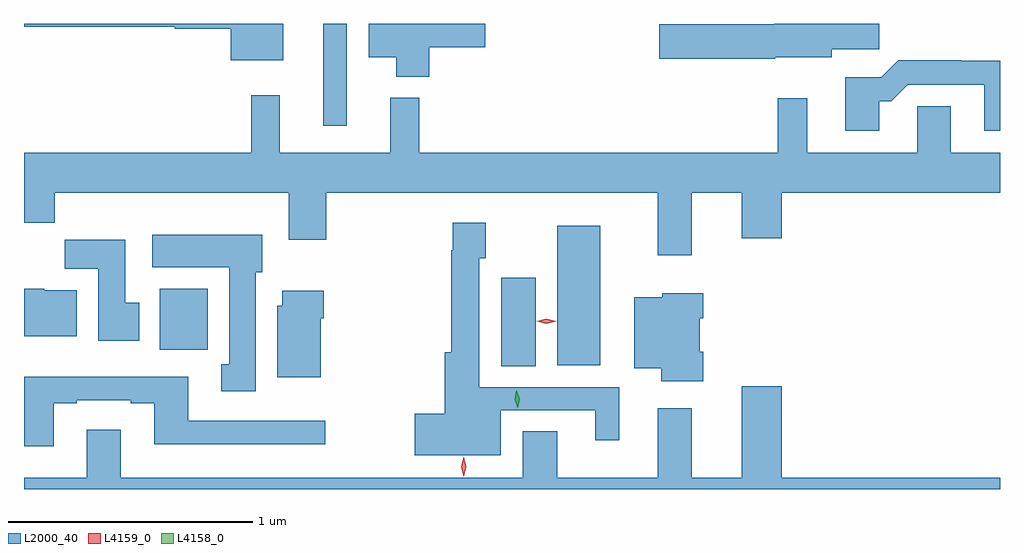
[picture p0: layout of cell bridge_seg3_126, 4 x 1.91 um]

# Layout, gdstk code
import gdstk
lib = gdstk.Library(unit=1e-6, precision=1e-09)
def R(c, l, rs):  # rectangles x0, y0, x1, y1
    for r in rs: c.add(gdstk.rectangle(r[:2], r[2:], *l))
def P(c, l, *ps):  # polygons
    for p in ps: c.add(gdstk.Polygon(p, *l))
L2000_40 = (2000, 40)
L4158_0 = (4158, 0)
L4159_0 = (4159, 0)

bridge_seg3_126 = lib.new_cell('bridge_seg3_126')
R(bridge_seg3_126, L2000_40, [(187.997,666.904,188.14,667.267), (188.228,666.908,188.404,667.48), (186.599,666.972,186.795,667.222), (187.268,667.89,187.365,668.308)])
P(bridge_seg3_126, L2000_40, [(189.12,668.171),(189.352,668.171),(189.352,668.203),(189.547,668.203),(189.547,668.308),(189.116,668.308),(189.116,668.306),(188.646,668.306),(188.646,668.164),(189.12,668.164)],
  [(187.105,668.308),(186.042,668.308),(186.042,668.296),(186.66,668.296),(186.66,668.288),(186.89,668.288),(186.89,668.159),(187.105,668.159)],
  [(187.703,668.212),(187.933,668.212),(187.933,668.308),(187.454,668.308),(187.454,668.171),(187.568,668.171),(187.568,668.09),(187.703,668.09)],
  [(189.547,667.991),(189.596,667.991),(189.663,668.058),(189.977,668.058),(189.977,667.869),(190.042,667.869),(190.042,668.156),(189.881,668.156),(189.881,668.159),(189.626,668.159),(189.556,668.089),(189.407,668.089),(189.407,667.869),(189.547,667.869)],
  [(188.779,667.616),(188.984,667.616),(188.984,667.428),(189.148,667.428),(189.148,667.616),(190.042,667.616),(190.042,667.78),(189.841,667.78),(189.841,667.97),(189.702,667.97),(189.702,667.78),(189.253,667.78),(189.253,668.002),(189.132,668.002),(189.132,667.78),(187.661,667.78),(187.661,668.005),(187.544,668.005),(187.544,667.78),(187.091,667.78),(187.091,668.014),(186.973,668.014),(186.973,667.78),(186.042,667.78),(186.042,667.492),(186.167,667.492),(186.167,667.616),(187.127,667.616),(187.127,667.422),(187.28,667.422),(187.28,667.616),(188.639,667.616),(188.639,667.359),(188.779,667.359)],
  [(187.996,666.723),(188.384,666.723),(188.384,666.6),(188.482,666.6),(188.482,666.819),(187.908,666.819),(187.908,667.347),(187.935,667.347),(187.935,667.492),(187.8,667.492),(187.8,667.379),(187.792,667.379),(187.792,666.961),(187.766,666.961),(187.766,666.71),(187.644,666.71),(187.644,666.539),(187.996,666.539)],
  [(186.991,667.29),(187.018,667.29),(187.018,667.444),(186.567,667.444),(186.567,667.31),(186.884,667.31),(186.884,666.913),(186.851,666.913),(186.851,666.801),(186.991,666.801)],
  [(186.514,667.164),(186.457,667.164),(186.457,667.423),(186.208,667.423),(186.208,667.304),(186.347,667.304),(186.347,667.008),(186.514,667.008)],
  [(186.259,667.216),(186.126,667.216),(186.126,667.222),(186.042,667.222),(186.042,667.028),(186.259,667.028)],
  [(187.258,667.1),(187.271,667.1),(187.271,667.213),(187.1,667.213),(187.1,667.152),(187.079,667.152),(187.079,666.86),(187.258,666.86)],
  [(188.825,666.964),(188.812,666.964),(188.812,667.1),(188.825,667.1),(188.825,667.204),(188.658,667.204),(188.658,667.186),(188.543,667.186),(188.543,666.896),(188.654,666.896),(188.654,666.842),(188.825,666.842)],
  [(186.163,666.753),(186.259,666.753),(186.259,666.765),(186.479,666.765),(186.479,666.753),(186.575,666.753),(186.575,666.584),(187.276,666.584),(187.276,666.681),(186.715,666.681),(186.715,666.862),(186.042,666.862),(186.042,666.576),(186.163,666.576)],
  [(190.042,666.448),(189.148,666.448),(189.148,666.823),(188.984,666.823),(188.984,666.448),(188.779,666.448),(188.779,666.733),(188.639,666.733),(188.639,666.448),(188.227,666.448),(188.227,666.638),(188.087,666.638),(188.087,666.448),(186.439,666.448),(186.439,666.643),(186.299,666.643),(186.299,666.448),(186.042,666.448),(186.042,666.4),(190.042,666.4)])
P(bridge_seg3_126, L4158_0, [(188.065,666.732),(188.065,666.732),(188.053,666.768),(188.06,666.804),(188.061,666.804),(188.061,666.804),(188.073,666.769),(188.065,666.732)])
P(bridge_seg3_126, L4159_0, [(188.183,667.079),(188.143,667.088),(188.143,667.089),(188.143,667.089),(188.183,667.099),(188.224,667.089),(188.224,667.089),(188.224,667.088)],
  [(187.844,666.453),(187.844,666.453),(187.834,666.493),(187.844,666.533),(187.844,666.533),(187.844,666.533),(187.854,666.493),(187.844,666.453)])

lib.write_gds('bridge_seg3_126.gds')
